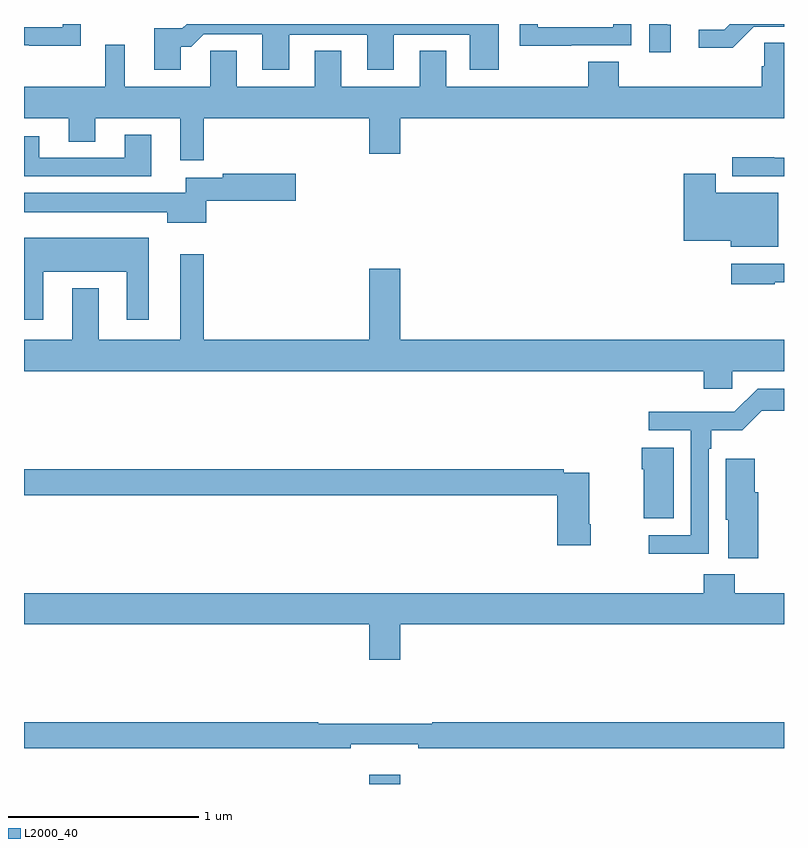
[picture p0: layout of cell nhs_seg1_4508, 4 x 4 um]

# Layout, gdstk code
import gdstk
lib = gdstk.Library(unit=1e-6, precision=1e-09)
def R(c, l, rs):  # rectangles x0, y0, x1, y1
    for r in rs: c.add(gdstk.rectangle(r[:2], r[2:], *l))
def P(c, l, *ps):  # polygons
    for p in ps: c.add(gdstk.Polygon(p, *l))
L2000_40 = (2000, 40)

nhs_seg1_4508 = lib.new_cell('nhs_seg1_4508')
R(nhs_seg1_4508, L2000_40, [(356.816,576.199,356.98,576.247)])
P(nhs_seg1_4508, L2000_40, [(357.881,580.086),(358.197,580.086),(358.197,580.199),(358.101,580.199),(358.101,580.182),(357.705,580.182),(357.705,580.199),(357.609,580.199),(357.609,580.085),(357.881,580.085)],
  [(358.405,580.194),(358.386,580.194),(358.386,580.199),(358.29,580.199),(358.29,580.05),(358.405,580.05)],
  [(355.299,580.199),(355.203,580.199),(355.203,580.182),(355,580.182),(355,580.086),(355.027,580.086),(355.027,580.085),(355.299,580.085)],
  [(355.825,580.079),(355.88,580.079),(355.947,580.146),(356.255,580.146),(356.255,579.957),(356.395,579.957),(356.395,580.143),(356.807,580.143),(356.807,579.957),(356.947,579.957),(356.947,580.143),(357.347,580.143),(357.347,579.957),(357.499,579.957),(357.499,580.199),(355.856,580.199),(355.833,580.176),(355.685,580.176),(355.685,579.957),(355.825,579.957)],
  [(358.842,580.185),(359,580.185),(359,580.199),(358.714,580.199),(358.685,580.17),(358.551,580.17),(358.551,580.073),(358.729,580.073)],
  [(355.945,579.704),(356.816,579.704),(356.816,579.516),(356.98,579.516),(356.98,579.704),(359,579.704),(359,580.1),(358.896,580.1),(358.896,579.977),(358.883,579.977),(358.883,579.868),(358.13,579.868),(358.13,580.001),(357.97,580.001),(357.97,579.868),(357.223,579.868),(357.223,580.058),(357.083,580.058),(357.083,579.868),(356.671,579.868),(356.671,580.058),(356.531,580.058),(356.531,579.868),(356.119,579.868),(356.119,580.058),(355.98,580.058),(355.98,579.868),(355.531,579.868),(355.531,580.09),(355.427,580.09),(355.427,579.868),(355,579.868),(355,579.704),(355.235,579.704),(355.235,579.58),(355.375,579.58),(355.375,579.704),(355.823,579.704),(355.823,579.483),(355.945,579.483)],
  [(355.669,579.616),(355.529,579.616),(355.529,579.495),(355.081,579.495),(355.081,579.607),(355,579.607),(355,579.399),(355.669,579.399)],
  [(359,579.495),(358.949,579.495),(358.949,579.497),(358.727,579.497),(358.727,579.399),(359,579.399)],
  [(358.969,579.31),(358.642,579.31),(358.642,579.412),(358.472,579.412),(358.472,579.059),(358.721,579.059),(358.721,579.026),(358.969,579.026)],
  [(355.96,579.269),(356.431,579.269),(356.431,579.411),(356.046,579.411),(356.046,579.391),(355.85,579.391),(355.85,579.31),(355,579.31),(355,579.209),(355.754,579.209),(355.754,579.152),(355.96,579.152)],
  [(355.102,578.894),(355.541,578.894),(355.541,578.643),(355.657,578.643),(355.657,579.073),(355,579.073),(355,578.643),(355.102,578.643)],
  [(358.728,578.372),(359,578.372),(359,578.536),(356.98,578.536),(356.98,578.911),(356.816,578.911),(356.816,578.536),(355.945,578.536),(355.945,578.986),(355.823,578.986),(355.823,578.536),(355.393,578.536),(355.393,578.809),(355.253,578.809),(355.253,578.536),(355,578.536),(355,578.372),(358.577,578.372),(358.577,578.279),(358.728,578.279)],
  [(358.952,578.841),(359,578.841),(359,578.937),(358.722,578.937),(358.722,578.829),(358.952,578.829)],
  [(358.605,577.964),(358.618,577.964),(358.618,578.06),(358.78,578.06),(358.884,578.164),(359,578.164),(359,578.28),(358.862,578.28),(358.739,578.157),(358.512,578.157),(358.512,578.159),(358.287,578.159),(358.287,578.061),(358.509,578.061),(358.509,577.509),(358.287,577.509),(358.287,577.412),(358.605,577.412)],
  [(358.42,577.969),(358.25,577.969),(358.25,577.856),(358.262,577.856),(358.262,577.598),(358.42,577.598)],
  [(358.864,577.734),(358.846,577.734),(358.846,577.912),(358.694,577.912),(358.694,577.59),(358.706,577.59),(358.706,577.388),(358.864,577.388)],
  [(357.984,577.567),(357.976,577.567),(357.976,577.836),(357.842,577.836),(357.842,577.856),(355,577.856),(355,577.72),(357.806,577.72),(357.806,577.455),(357.984,577.455)],
  [(356.98,577.04),(359,577.04),(359,577.204),(358.742,577.204),(358.742,577.303),(358.577,577.303),(358.577,577.204),(355,577.204),(355,577.04),(356.816,577.04),(356.816,576.852),(356.98,576.852)],
  [(356.72,576.407),(357.076,576.407),(357.076,576.388),(359,576.388),(359,576.524),(357.149,576.524),(357.149,576.517),(356.549,576.517),(356.549,576.524),(355,576.524),(355,576.388),(356.72,576.388)])

lib.write_gds('nhs_seg1_4508.gds')
